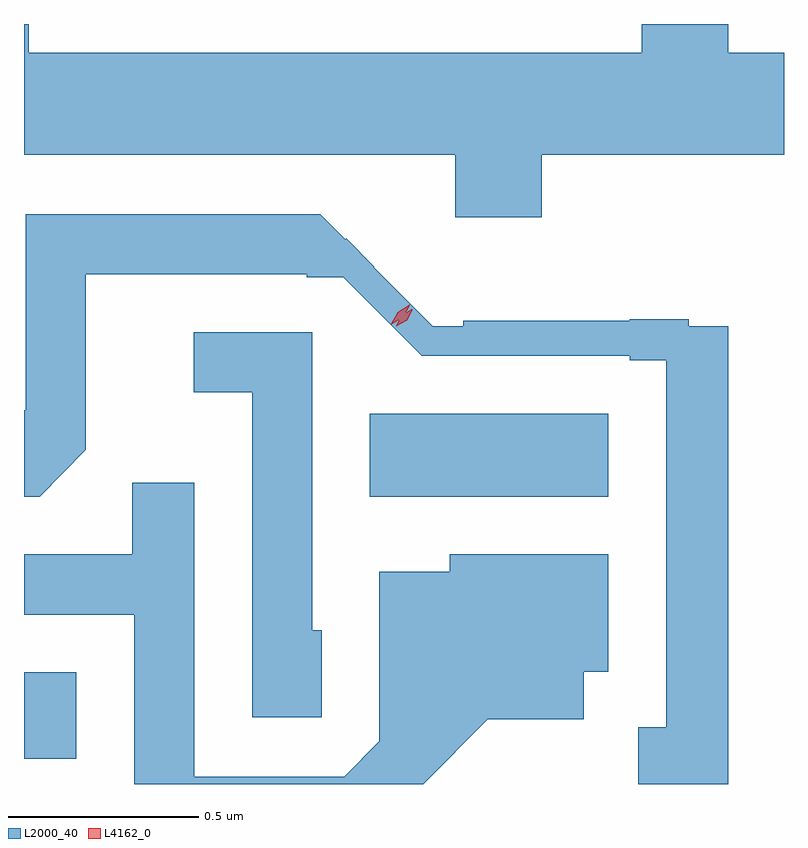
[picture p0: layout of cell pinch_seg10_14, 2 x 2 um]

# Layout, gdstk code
import gdstk
lib = gdstk.Library(unit=1e-6, precision=1e-09)
def R(c, l, rs):  # rectangles x0, y0, x1, y1
    for r in rs: c.add(gdstk.rectangle(r[:2], r[2:], *l))
def P(c, l, *ps):  # polygons
    for p in ps: c.add(gdstk.Polygon(p, *l))
L2000_40 = (2000, 40)
L4162_0 = (4162, 0)

pinch_seg10_14 = lib.new_cell('pinch_seg10_14')
R(pinch_seg10_14, L2000_40, [(639.486,2141.186,639.624,2141.414), (640.396,2141.876,641.024,2142.094)])
P(pinch_seg10_14, L2000_40, [(640.849,2142.776),(641.486,2142.776),(641.486,2143.044),(641.339,2143.044),(641.339,2143.12),(641.111,2143.12),(641.111,2143.044),(639.499,2143.044),(639.499,2143.12),(639.486,2143.12),(639.486,2142.776),(640.621,2142.776),(640.621,2142.611),(640.849,2142.611)],
  [(641.339,2142.325),(641.235,2142.325),(641.235,2142.343),(641.08,2142.343),(641.08,2142.339),(640.642,2142.339),(640.642,2142.325),(640.561,2142.325),(640.407,2142.48),(640.408,2142.481),(640.334,2142.556),(640.332,2142.553),(640.266,2142.619),(639.491,2142.619),(639.491,2142.104),(639.486,2142.104),(639.486,2141.876),(639.527,2141.876),(639.649,2141.999),(639.649,2142.461),(640.23,2142.461),(640.23,2142.454),(640.326,2142.454),(640.533,2142.247),(641.08,2142.247),(641.08,2142.235),(641.176,2142.235),(641.176,2141.269),(641.103,2141.269),(641.103,2141.12),(641.339,2141.12)],
  [(640.269,2141.524),(640.244,2141.524),(640.244,2142.309),(639.933,2142.309),(639.933,2142.151),(640.086,2142.151),(640.086,2141.296),(640.269,2141.296)],
  [(640.707,2141.291),(640.959,2141.291),(640.959,2141.416),(641.024,2141.416),(641.024,2141.724),(640.606,2141.724),(640.606,2141.679),(640.421,2141.679),(640.421,2141.232),(640.329,2141.139),(639.934,2141.139),(639.934,2141.913),(639.771,2141.913),(639.771,2141.724),(639.486,2141.724),(639.486,2141.566),(639.776,2141.566),(639.776,2141.12),(640.536,2141.12)])
P(pinch_seg10_14, L4162_0, [(640.451,2142.328),(640.451,2142.328),(640.47,2142.362),(640.502,2142.383),(640.503,2142.383),(640.503,2142.382),(640.484,2142.348),(640.451,2142.328)],
  [(640.466,2142.325),(640.466,2142.326),(640.48,2142.354),(640.507,2142.369),(640.508,2142.369),(640.508,2142.368),(640.494,2142.34),(640.466,2142.325)])

lib.write_gds('pinch_seg10_14.gds')
